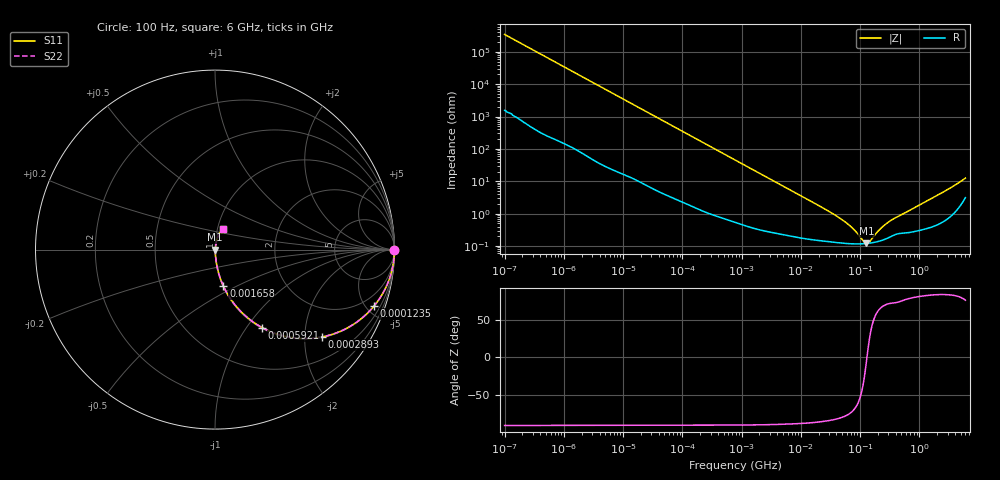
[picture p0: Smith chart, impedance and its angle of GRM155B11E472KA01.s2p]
!Murata Part Number: GRM155B11E472KA01
!These Parameters are Measured in Series Mode Connection
!Data Generated on Mar 30, 2021
!  o--ll--o
!Port1  Port2
!  o------o
!Operation Temp=25[degC], DC Bias Voltage=0[V]
!Freq. Start=100[Hz] Stop=6[GHz] 401[Steps]
# Hz S RI R 50
!Freq.(Hz) S11(Real) S11(Imag) S21(Real) S21(Imag) S12(Real) S12(Imag) S22(Real) S22(Imag)
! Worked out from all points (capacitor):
!   401 points, 100 Hz to 6 GHz, reference 50 ohm
!   read as one part in series: C = 4.64 nF near 109 Hz
!   lowest |Z| = 120 mohm at 127.6 MHz (marker M1)
!   series resonance near 130.7 MHz, so ESL is about 320 pH
!   S11 on the Smith chart (normalised r, x): 100 Hz: open; 123.5 kHz: 1.04, -5.66; 289.3 kHz: 1.02, -2.43; 592.1 kHz: 1.01, -1.19; 1.658 MHz: 1.01, -0.43; 6 GHz: 1.06, +0.24
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100  1 -0.000292  1.4e-06 0.000292  1.4e-06 0.000292  1 -0.000292
2008  0.9999 -0.00581  5.9e-05 0.00581  5.9e-05 0.00581  0.9999 -0.00581
12592  0.9985 -0.0362  0.0015 0.0362  0.0015 0.0362  0.9985 -0.0362
40335  0.9862 -0.1141  0.0138 0.1141  0.0138 0.1141  0.9862 -0.1141
123542  0.8874 -0.3127  0.1126 0.3127  0.1126 0.3127  0.8874 -0.3127
184852  0.7806 -0.4102  0.2194 0.4102  0.2194 0.4102  0.7806 -0.4102
289253  0.5947 -0.4869  0.4053 0.4869  0.4053 0.4869  0.5947 -0.4869
413847  0.4198 -0.4889  0.5802 0.4889  0.5802 0.4889  0.4198 -0.4889
592111  0.2635 -0.4352  0.7365 0.4352  0.7365 0.4352  0.2635 -0.4352
774597  0.1746 -0.3738  0.8254 0.3738  0.8254 0.3738  0.1746 -0.3738
1658239  0.0466 -0.2029  0.9534 0.2029  0.9534 0.2029  0.0466 -0.2029
4246196  0.00931 -0.0829  0.9907 0.0829  0.9907 0.0829  0.00931 -0.0829
1.555665e7  0.00209 -0.0229  0.9979 0.0229  0.9979 0.0229  0.00209 -0.0229
5.699437e7  0.00123 -0.00527  0.9988 0.00527  0.9988 0.00527  0.00123 -0.00527
7.797396e7  0.00117 -0.00308  0.9988 0.00308  0.9988 0.00308  0.00117 -0.00308
1.115611e8  0.00117 -0.000906  0.9988 0.000906  0.9988 0.000906  0.00117 -0.000906
1.275994e8  0.00119 -0.000135  0.9988 0.000135  0.9988 0.000135  0.00119 -0.000135
1.459435e8  0.00123 0.000632  0.9988 -0.000632  0.9988 -0.000632  0.00123 0.000632
2.183701e8  0.00144 0.00303  0.9986 -0.00303  0.9986 -0.00303  0.00144 0.00303
3.124326e8  0.00188 0.00542  0.9981 -0.00542  0.9981 -0.00542  0.00188 0.00542
1.95892e9  0.00561 0.035  0.9944 -0.035  0.9944 -0.035  0.00561 0.035
6e9  0.0434 0.1123  0.9566 -0.1123  0.9566 -0.1123  0.0434 0.1123
